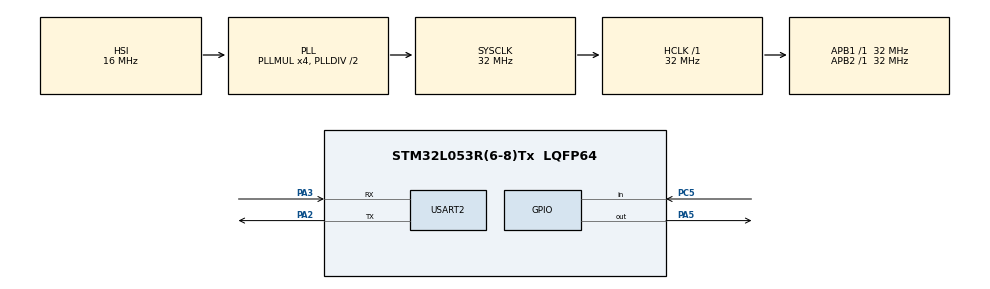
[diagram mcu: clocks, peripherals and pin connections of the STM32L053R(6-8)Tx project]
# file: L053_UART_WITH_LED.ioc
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Mcu.Family=STM32L0
Mcu.Name=STM32L053R(6-8)Tx
Mcu.Package=LQFP64
NVIC.USART2_IRQn=true\:0\:0\:false\:false\:true\:true\:true\:true
PA2.Mode=Asynchronous
PA2.Signal=USART2_TX
PA3.Mode=Asynchronous
PA3.Signal=USART2_RX
PA5.Signal=GPIO_Output
PC5.Signal=GPIO_Input
ProjectManager.HeapSize=0x200
ProjectManager.StackSize=0x400
ProjectManager.TargetToolchain=STM32CubeIDE
RCC.AHBFreq_Value=32000000
RCC.APB1Freq_Value=32000000
RCC.APB1TimFreq_Value=32000000
RCC.APB2Freq_Value=32000000
RCC.APB2TimFreq_Value=32000000
RCC.HCLKFreq_Value=32000000
RCC.HSE_VALUE=8000000
RCC.HSI16_VALUE=16000000
RCC.HSI48_VALUE=48000000
RCC.HSI_VALUE=16000000
RCC.LSE_VALUE=32768
RCC.MSI_VALUE=2097000
RCC.PLLMUL=RCC_PLLMUL_4
RCC.SYSCLKFreq_VALUE=32000000
RCC.SYSCLKSource=RCC_SYSCLKSOURCE_PLLCLK
RCC.VCOOutputFreq_Value=64000000
USART2.VirtualMode-Asynchronous=VM_ASYNC
VP_CRC_VS_CRC.Mode=CRC_Activate
board=NUCLEO-L053R8

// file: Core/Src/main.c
/* USER CODE BEGIN Header */
/**
  ******************************************************************************
  * @file           : main.c
  * @brief          : Main program body
  ******************************************************************************
  * @attention
  *
  * Copyright (c) 2023 STMicroelectronics.
  * All rights reserved.
  *
  * This software is licensed under terms that can be found in the LICENSE file
  * in the root directory of this software component.
  * If no LICENSE file comes with this software, it is provided AS-IS.
  *
  ******************************************************************************
  */
/* USER CODE END Header */
#include "main.h"

/* USER CODE BEGIN Includes */
#include "string.h"
#include "stdio.h"

/* USER CODE END Includes */

/* USER CODE BEGIN PM */
uint8_t Rx_data[10];
char Hello[] = "HELLO_WORLD\n";
uint8_t err_flag=0;
/* USER CODE END PM */

CRC_HandleTypeDef hcrc;

UART_HandleTypeDef huart2;

void SystemClock_Config(void);
static void MX_GPIO_Init(void);
static void MX_CRC_Init(void);
static void MX_USART2_UART_Init(void);

/* USER CODE BEGIN 0 */
void HAL_UART_RxCpltCallback(UART_HandleTypeDef *huart)
{
  HAL_UART_Receive_IT(&huart2, Rx_data, 2);
  if(Rx_data[1]== 'N')
  {
	  HAL_GPIO_WritePin(GPIOA, GPIO_PIN_5, GPIO_PIN_SET);
	  err_flag=0;

  }
  else if(Rx_data[1]== 'F')
  {
	  HAL_GPIO_WritePin(GPIOA, GPIO_PIN_5, GPIO_PIN_RESET);
	  err_flag=0;

  }
  else{
	  err_flag=1;

  }
  memset(Rx_data, '\0',10);
  HAL_UART_Receive_IT(&huart2, Rx_data, 2);

}

/* USER CODE END 0 */

int main(void)
{

  /* MCU Configuration--------------------------------------------------------*/

  /* Reset of all peripherals, Initializes the Flash interface and the Systick. */
  HAL_Init();

  /* Configure the system clock */
  SystemClock_Config();

  /* Initialize all configured peripherals */
  MX_GPIO_Init();
  MX_CRC_Init();
  MX_USART2_UART_Init();
  /* USER CODE BEGIN 2 */
  HAL_UART_Receive_IT(&huart2, Rx_data, 2);
  /* USER CODE END 2 */

  /* Infinite loop */
  /* USER CODE BEGIN WHILE */
  while (1)
  {

	  if(err_flag==1){
	  	HAL_GPIO_TogglePin(GPIOA, GPIO_PIN_5);
	  	HAL_Delay(300);
	  	HAL_GPIO_TogglePin(GPIOA, GPIO_PIN_5);
	  	HAL_Delay(300);
	  	HAL_GPIO_TogglePin(GPIOA, GPIO_PIN_5);
	  	HAL_Delay(300);
	  }
	  else;
    /* USER CODE END WHILE */

  }
}

void SystemClock_Config(void)
{
  RCC_OscInitTypeDef RCC_OscInitStruct = {0};
  RCC_ClkInitTypeDef RCC_ClkInitStruct = {0};
  RCC_PeriphCLKInitTypeDef PeriphClkInit = {0};

  /** Configure the main internal regulator output voltage
  */
  __HAL_PWR_VOLTAGESCALING_CONFIG(PWR_REGULATOR_VOLTAGE_SCALE1);

  /** Initializes the RCC Oscillators according to the specified parameters
  * in the RCC_OscInitTypeDef structure.
  */
  RCC_OscInitStruct.OscillatorType = RCC_OSCILLATORTYPE_HSI;
  RCC_OscInitStruct.HSIState = RCC_HSI_ON;
  RCC_OscInitStruct.HSICalibrationValue = RCC_HSICALIBRATION_DEFAULT;
  RCC_OscInitStruct.PLL.PLLState = RCC_PLL_ON;
  RCC_OscInitStruct.PLL.PLLSource = RCC_PLLSOURCE_HSI;
  RCC_OscInitStruct.PLL.PLLMUL = RCC_PLLMUL_4;
  RCC_OscInitStruct.PLL.PLLDIV = RCC_PLLDIV_2;
  if (HAL_RCC_OscConfig(&RCC_OscInitStruct) != HAL_OK)
  {
    Error_Handler();
  }

  /** Initializes the CPU, AHB and APB buses clocks
  */
  RCC_ClkInitStruct.ClockType = RCC_CLOCKTYPE_HCLK|RCC_CLOCKTYPE_SYSCLK
                              |RCC_CLOCKTYPE_PCLK1|RCC_CLOCKTYPE_PCLK2;
  RCC_ClkInitStruct.SYSCLKSource = RCC_SYSCLKSOURCE_PLLCLK;
  RCC_ClkInitStruct.AHBCLKDivider = RCC_SYSCLK_DIV1;
  RCC_ClkInitStruct.APB1CLKDivider = RCC_HCLK_DIV1;
  RCC_ClkInitStruct.APB2CLKDivider = RCC_HCLK_DIV1;

  if (HAL_RCC_ClockConfig(&RCC_ClkInitStruct, FLASH_LATENCY_1) != HAL_OK)
  {
    Error_Handler();
  }
  PeriphClkInit.PeriphClockSelection = RCC_PERIPHCLK_USART2;
  PeriphClkInit.Usart2ClockSelection = RCC_USART2CLKSOURCE_PCLK1;
  if (HAL_RCCEx_PeriphCLKConfig(&PeriphClkInit) != HAL_OK)
  {
    Error_Handler();
  }
}

static void MX_CRC_Init(void)
{

  hcrc.Instance = CRC;
  hcrc.Init.DefaultPolynomialUse = DEFAULT_POLYNOMIAL_ENABLE;
  hcrc.Init.DefaultInitValueUse = DEFAULT_INIT_VALUE_ENABLE;
  hcrc.Init.InputDataInversionMode = CRC_INPUTDATA_INVERSION_NONE;
  hcrc.Init.OutputDataInversionMode = CRC_OUTPUTDATA_INVERSION_DISABLE;
  hcrc.InputDataFormat = CRC_INPUTDATA_FORMAT_BYTES;
  if (HAL_CRC_Init(&hcrc) != HAL_OK)
  {
    Error_Handler();
  }

}

static void MX_USART2_UART_Init(void)
{

  huart2.Instance = USART2;
  huart2.Init.BaudRate = 115200;
  huart2.Init.WordLength = UART_WORDLENGTH_8B;
  huart2.Init.StopBits = UART_STOPBITS_1;
  huart2.Init.Parity = UART_PARITY_NONE;
  huart2.Init.Mode = UART_MODE_TX_RX;
  huart2.Init.HwFlowCtl = UART_HWCONTROL_NONE;
  huart2.Init.OverSampling = UART_OVERSAMPLING_16;
  huart2.Init.OneBitSampling = UART_ONE_BIT_SAMPLE_DISABLE;
  huart2.AdvancedInit.AdvFeatureInit = UART_ADVFEATURE_NO_INIT;
  if (HAL_UART_Init(&huart2) != HAL_OK)
  {
    Error_Handler();
  }

}

static void MX_GPIO_Init(void)
{
  GPIO_InitTypeDef GPIO_InitStruct = {0};

  /* GPIO Ports Clock Enable */
  __HAL_RCC_GPIOA_CLK_ENABLE();
  __HAL_RCC_GPIOC_CLK_ENABLE();

  /*Configure GPIO pin Output Level */
  HAL_GPIO_WritePin(GPIOA, GPIO_PIN_5, GPIO_PIN_RESET);

  /*Configure GPIO pin : PA5 */
  GPIO_InitStruct.Pin = GPIO_PIN_5;
  GPIO_InitStruct.Mode = GPIO_MODE_OUTPUT_PP;
  GPIO_InitStruct.Pull = GPIO_NOPULL;
  GPIO_InitStruct.Speed = GPIO_SPEED_FREQ_LOW;
  HAL_GPIO_Init(GPIOA, &GPIO_InitStruct);

  /*Configure GPIO pin : PC5 */
  GPIO_InitStruct.Pin = GPIO_PIN_5;
  GPIO_InitStruct.Mode = GPIO_MODE_INPUT;
  GPIO_InitStruct.Pull = GPIO_NOPULL;
  HAL_GPIO_Init(GPIOC, &GPIO_InitStruct);

}

void Error_Handler(void)
{
  __disable_irq();
  while (1)
  {
  }
}
